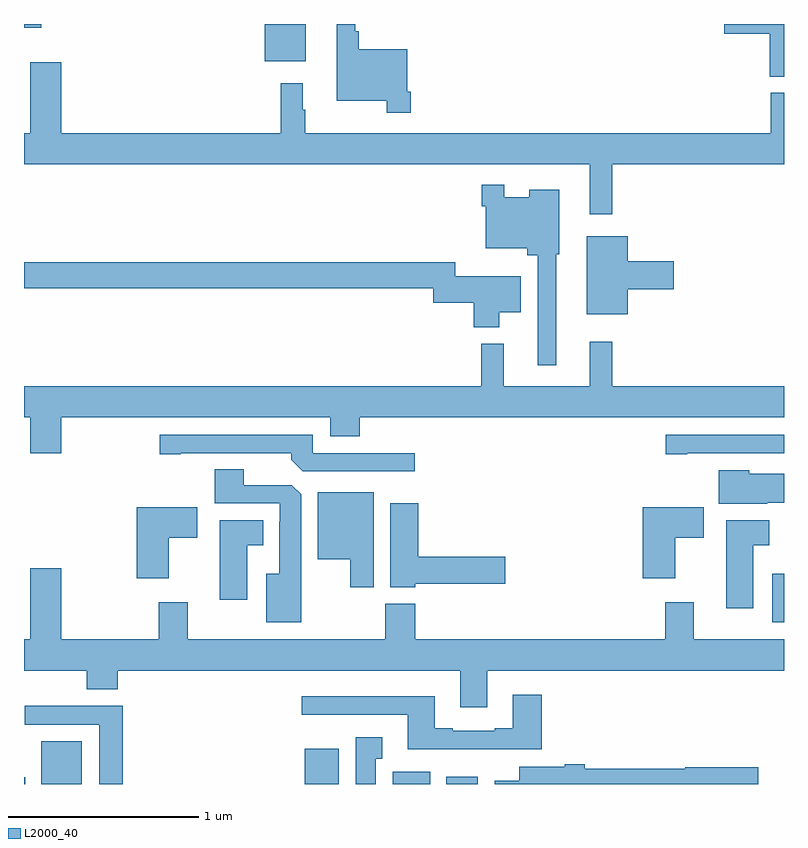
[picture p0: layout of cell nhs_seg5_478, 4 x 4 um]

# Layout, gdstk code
import gdstk
lib = gdstk.Library(unit=1e-6, precision=1e-09)
def R(c, l, rs):  # rectangles x0, y0, x1, y1
    for r in rs: c.add(gdstk.rectangle(r[:2], r[2:], *l))
def P(c, l, *ps):  # polygons
    for p in ps: c.add(gdstk.Polygon(p, *l))
L2000_40 = (2000, 40)

nhs_seg5_478 = lib.new_cell('nhs_seg5_478')
R(nhs_seg5_478, L2000_40, [(141,886.799,141.007,886.834), (141.092,886.799,141.304,887.023), (142.478,886.799,142.657,886.984), (142.94,886.799,143.137,886.864), (143.222,886.799,143.389,886.837), (144.938,887.651,145,887.905), (142.268,890.603,142.483,890.799), (141,890.78,141.091,890.799)])
P(nhs_seg5_478, L2000_40, [(143.036,890.443),(143.016,890.443),(143.016,890.665),(142.763,890.665),(142.763,890.761),(142.744,890.761),(142.744,890.799),(142.646,890.799),(142.646,890.396),(142.908,890.396),(142.908,890.331),(143.036,890.331)],
  [(145,890.799),(144.686,890.799),(144.686,890.747),(144.926,890.747),(144.926,890.521),(145,890.521)],
  [(144.095,890.06),(145,890.06),(145,890.436),(144.929,890.436),(144.929,890.224),(142.48,890.224),(142.48,890.348),(142.468,890.348),(142.468,890.488),(142.351,890.488),(142.351,890.224),(141.196,890.224),(141.196,890.599),(141.032,890.599),(141.032,890.224),(141,890.224),(141,890.06),(143.978,890.06),(143.978,889.797),(144.095,889.797)],
  [(143.8,889.587),(143.818,889.587),(143.818,889.927),(143.66,889.927),(143.66,889.888),(143.527,889.888),(143.527,889.954),(143.41,889.954),(143.41,889.841),(143.43,889.841),(143.43,889.619),(143.648,889.619),(143.648,889.583),(143.703,889.583),(143.703,889.002),(143.8,889.002)],
  [(144.178,889.403),(144.421,889.403),(144.421,889.55),(144.178,889.55),(144.178,889.681),(143.963,889.681),(143.963,889.271),(144.178,889.271)],
  [(143.5,889.283),(143.614,889.283),(143.614,889.471),(143.271,889.471),(143.271,889.544),(141,889.544),(141,889.408),(143.155,889.408),(143.155,889.332),(143.366,889.332),(143.366,889.202),(143.5,889.202)],
  [(141.196,888.728),(142.613,888.728),(142.613,888.629),(142.766,888.629),(142.766,888.728),(145,888.728),(145,888.892),(144.095,888.892),(144.095,889.126),(143.978,889.126),(143.978,888.892),(143.525,888.892),(143.525,889.117),(143.407,889.117),(143.407,888.892),(141,888.892),(141,888.728),(141.032,888.728),(141.032,888.54),(141.196,888.54)],
  [(144.49,888.54),(145,888.54),(145,888.636),(144.378,888.636),(144.378,888.535),(144.49,888.535)],
  [(143.056,888.54),(142.521,888.54),(142.521,888.636),(141.714,888.636),(141.714,888.535),(141.826,888.535),(141.826,888.54),(142.406,888.54),(142.406,888.506),(142.467,888.444),(143.056,888.444)],
  [(142.459,888.323),(142.41,888.372),(142.156,888.372),(142.156,888.455),(142.004,888.455),(142.004,888.276),(142.347,888.276),(142.347,888.179),(142.343,888.179),(142.343,887.905),(142.274,887.905),(142.274,887.651),(142.459,887.651)],
  [(144.911,888.279),(145,888.279),(145,888.433),(144.816,888.433),(144.816,888.451),(144.656,888.451),(144.656,888.275),(144.911,888.275)],
  [(142.84,888.334),(142.547,888.334),(142.547,887.981),(142.718,887.981),(142.718,887.835),(142.84,887.835)],
  [(143.058,887.854),(143.533,887.854),(143.533,887.996),(143.075,887.996),(143.075,888.277),(142.928,888.277),(142.928,887.834),(143.058,887.834)],
  [(141.763,888.094),(141.913,888.094),(141.913,888.256),(141.593,888.256),(141.593,887.883),(141.763,887.883)],
  [(144.427,888.094),(144.577,888.094),(144.577,888.256),(144.257,888.256),(144.257,887.883),(144.427,887.883)],
  [(144.838,888.056),(144.922,888.056),(144.922,888.187),(144.695,888.187),(144.695,887.724),(144.838,887.724)],
  [(142.174,888.056),(142.258,888.056),(142.258,888.187),(142.031,888.187),(142.031,887.769),(142.174,887.769)],
  [(143.437,887.396),(145,887.396),(145,887.56),(144.526,887.56),(144.526,887.755),(144.374,887.755),(144.374,887.56),(143.06,887.56),(143.06,887.749),(142.9,887.749),(142.9,887.56),(141.862,887.56),(141.862,887.755),(141.71,887.755),(141.71,887.56),(141.196,887.56),(141.196,887.935),(141.032,887.935),(141.032,887.56),(141,887.56),(141,887.396),(141.329,887.396),(141.329,887.297),(141.494,887.297),(141.494,887.396),(143.297,887.396),(143.297,887.202),(143.437,887.202)],
  [(143.726,887.269),(143.573,887.269),(143.573,887.092),(143.477,887.092),(143.477,887.079),(143.257,887.079),(143.257,887.092),(143.161,887.092),(143.161,887.26),(142.461,887.26),(142.461,887.163),(143.021,887.163),(143.021,886.982),(143.726,886.982)],
  [(141.521,887.21),(141.003,887.21),(141.003,887.112),(141.395,887.112),(141.395,886.799),(141.521,886.799)],
  [(142.852,886.931),(142.885,886.931),(142.885,887.044),(142.745,887.044),(142.745,886.799),(142.852,886.799)],
  [(144.865,886.886),(144.48,886.886),(144.48,886.88),(143.95,886.88),(143.95,886.904),(143.846,886.904),(143.846,886.891),(143.606,886.891),(143.606,886.816),(143.477,886.816),(143.477,886.799),(144.865,886.799)])

lib.write_gds('nhs_seg5_478.gds')
